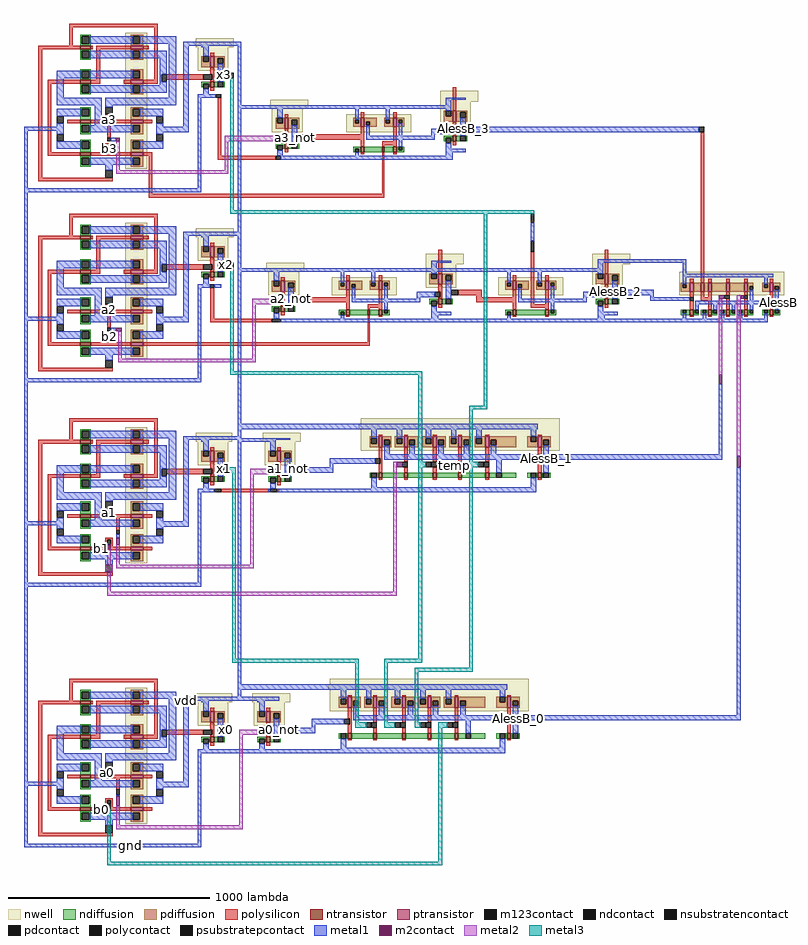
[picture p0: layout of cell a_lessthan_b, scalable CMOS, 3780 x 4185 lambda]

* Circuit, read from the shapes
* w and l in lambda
.subckt a_lessthan_b AlessB AlessB_0 AlessB_1 AlessB_2 AlessB_3 a0 a0_not a1 a1_not a2 a2_not a3 a3_not b0 b1 b2 b3 gnd temp vdd x0 x1 x2 x3
M1 gnd b0 n1 gnd nfet w=54 l=18
M2 gnd a0 n2 gnd nfet w=54 l=18
M3 n2 b0 n3 gnd nfet w=54 l=18
M4 a0 n1 n3 gnd nfet w=54 l=18
M5 gnd b1 n4 gnd nfet w=54 l=18
M6 gnd a1 n5 gnd nfet w=54 l=18
M7 n5 b1 n6 gnd nfet w=54 l=18
M8 a1 n4 n6 gnd nfet w=54 l=18
M9 gnd b2 n7 gnd nfet w=54 l=18
M10 gnd a2 n8 gnd nfet w=54 l=18
M11 n8 b2 n9 gnd nfet w=54 l=18
M12 a2 n7 n9 gnd nfet w=54 l=18
M13 gnd b3 n10 gnd nfet w=54 l=18
M14 gnd a3 n11 gnd nfet w=54 l=18
M15 n11 b3 n12 gnd nfet w=54 l=18
M16 a3 n10 n12 gnd nfet w=54 l=18
M17 x0 n3 gnd gnd nfet w=27 l=18
M18 x1 n6 gnd gnd nfet w=27 l=18
M19 x2 n9 gnd gnd nfet w=27 l=18
M20 x3 n12 gnd gnd nfet w=27 l=18
M21 a0_not a0 gnd gnd nfet w=27 l=18
M22 a1_not a1 gnd gnd nfet w=27 l=18
M23 a2_not a2 gnd gnd nfet w=27 l=18
M24 a3_not a3 gnd gnd nfet w=27 l=18
M25 n13 a2_not gnd gnd nfet w=27 l=18
M26 n14 a0_not gnd gnd nfet w=27 l=18
M27 n15 a3_not gnd gnd nfet w=27 l=18
M28 n16 b2 n13 gnd nfet w=27 l=9
M29 n17 x1 n14 gnd nfet w=27 l=18
M30 n18 a1_not gnd gnd nfet w=27 l=18
M31 n19 b2 n16 gnd nfet w=27 l=18
M32 n20 b3 n15 gnd nfet w=27 l=9
M33 n21 b3 n20 gnd nfet w=27 l=18
M34 n22 x2 n17 gnd nfet w=27 l=18
M35 n23 b1 n18 gnd nfet w=27 l=18
M36 n24 x3 n22 gnd nfet w=27 l=18
M37 n25 x2 n23 gnd nfet w=27 l=18
M38 n26 n19 gnd gnd nfet w=27 l=18
M39 AlessB_3 n21 gnd gnd nfet w=27 l=18
M40 n27 b0 n24 gnd nfet w=27 l=18
M41 n28 temp n25 gnd nfet w=27 l=18
M42 n29 x3 n28 gnd nfet w=27 l=18
M43 AlessB_0 n27 gnd gnd nfet w=27 l=18
M44 n30 n26 gnd gnd nfet w=27 l=18
M45 AlessB_1 n29 gnd gnd nfet w=27 l=18
M46 n31 x3 n30 gnd nfet w=27 l=18
M47 AlessB_2 n31 gnd gnd nfet w=27 l=18
M48 n32 AlessB_2 gnd gnd nfet w=27 l=18
M49 n32 AlessB_3 gnd gnd nfet w=27 l=18
M50 n32 AlessB_1 gnd gnd nfet w=27 l=18
M51 n32 AlessB_0 gnd gnd nfet w=27 l=18
M52 AlessB n32 gnd gnd nfet w=27 l=18
M53 vdd b0 n1 n33 pfet w=63 l=18
M54 vdd a0 n2 n33 pfet w=63 l=18
M55 n2 n1 n3 n33 pfet w=63 l=18
M56 a0 b0 n3 n33 pfet w=63 l=18
M57 vdd b1 n4 n34 pfet w=63 l=18
M58 vdd a1 n5 n34 pfet w=63 l=18
M59 n5 n4 n6 n34 pfet w=63 l=18
M60 a1 b1 n6 n34 pfet w=63 l=18
M61 vdd b2 n7 n35 pfet w=63 l=18
M62 vdd a2 n8 n35 pfet w=63 l=18
M63 n8 n7 n9 n35 pfet w=63 l=18
M64 a2 b2 n9 n35 pfet w=63 l=18
M65 vdd b3 n10 n36 pfet w=63 l=18
M66 vdd a3 n11 n36 pfet w=63 l=18
M67 n11 n10 n12 n36 pfet w=63 l=18
M68 a3 b3 n12 n36 pfet w=63 l=18
M69 x0 n3 vdd n37 pfet w=54 l=18
M70 x1 n6 vdd n38 pfet w=54 l=18
M71 x2 n9 vdd n39 pfet w=54 l=18
M72 x3 n12 vdd n40 pfet w=54 l=18
M73 a0_not a0 vdd n41 pfet w=54 l=18
M74 a1_not a1 vdd n42 pfet w=54 l=18
M75 a2_not a2 vdd n43 pfet w=54 l=18
M76 a3_not a3 vdd n44 pfet w=54 l=18
M77 n19 a2_not vdd n45 pfet w=45 l=18
M78 n27 a0_not vdd n46 pfet w=54 l=18
M79 n21 a3_not vdd n47 pfet w=45 l=18
M80 n27 x1 vdd n46 pfet w=54 l=18
M81 n29 a1_not vdd n48 pfet w=54 l=18
M82 n19 b2 vdd n45 pfet w=45 l=18
M83 n21 b3 vdd n47 pfet w=45 l=18
M84 n27 x2 vdd n46 pfet w=54 l=18
M85 n29 b1 vdd n48 pfet w=54 l=18
M86 n27 x3 vdd n46 pfet w=54 l=18
M87 n29 x2 vdd n48 pfet w=54 l=18
M88 n26 n19 vdd n49 pfet w=54 l=18
M89 AlessB_3 n21 vdd n50 pfet w=54 l=18
M90 n27 b0 vdd n46 pfet w=54 l=18
M91 n29 temp vdd n48 pfet w=54 l=18
M92 n29 x3 vdd n48 pfet w=54 l=18
M93 AlessB_0 n27 vdd n46 pfet w=54 l=18
M94 n31 n26 vdd n51 pfet w=45 l=18
M95 AlessB_1 n29 vdd n48 pfet w=54 l=18
M96 n31 x3 vdd n51 pfet w=45 l=18
M97 AlessB_2 n31 vdd n52 pfet w=54 l=18
M98 n53 AlessB_2 vdd n52 pfet w=45 l=18
M99 n54 AlessB_3 n53 n52 pfet w=45 l=18
M100 n55 AlessB_3 n54 n52 pfet w=45 l=18
M101 n56 AlessB_1 n55 n52 pfet w=45 l=18
M102 n32 AlessB_0 n56 n52 pfet w=45 l=18
M103 AlessB n32 vdd n52 pfet w=45 l=18
.ends

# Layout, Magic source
magic
tech scmos
magscale 9 1
<< nwell >>
rect -523 300 -511 375
rect -484 367 -463 372
rect -483 355 -466 367
rect -483 354 -476 355
rect -474 354 -466 355
rect -443 333 -422 338
rect -349 337 -328 343
rect -442 321 -425 333
rect -442 320 -435 321
rect -433 320 -425 321
rect -401 320 -365 330
rect -349 325 -332 337
rect -349 324 -342 325
rect -340 324 -332 325
rect -523 195 -511 270
rect -484 262 -463 267
rect -483 250 -466 262
rect -483 249 -476 250
rect -474 249 -466 250
rect -445 245 -424 248
rect -446 243 -424 245
rect -357 247 -336 253
rect -265 250 -244 253
rect -265 248 -213 250
rect -265 247 -244 248
rect -444 231 -427 243
rect -444 230 -437 231
rect -435 230 -427 231
rect -409 230 -373 240
rect -357 235 -340 247
rect -357 234 -350 235
rect -348 234 -340 235
rect -317 230 -281 240
rect -265 235 -248 247
rect -215 243 -213 248
rect -265 234 -258 235
rect -256 234 -248 235
rect -217 230 -159 243
rect -183 228 -179 230
rect -393 159 -283 162
rect -523 82 -511 157
rect -394 156 -283 159
rect -484 149 -464 154
rect -447 149 -426 154
rect -483 137 -466 149
rect -483 136 -476 137
rect -474 136 -466 137
rect -446 137 -429 149
rect -393 144 -283 156
rect -446 136 -439 137
rect -437 136 -429 137
rect -410 15 -300 18
rect -523 -62 -511 13
rect -411 12 -300 15
rect -484 5 -464 10
rect -453 5 -432 10
rect -483 -7 -466 5
rect -483 -8 -476 -7
rect -474 -8 -466 -7
rect -452 -7 -435 5
rect -410 0 -300 12
rect -452 -8 -445 -7
rect -443 -8 -435 -7
<< ntransistor >>
rect -548 366 -542 368
rect -548 347 -542 349
rect -476 345 -474 348
rect -548 325 -542 327
rect -548 307 -542 309
rect -435 311 -433 314
rect -342 315 -340 318
rect -393 309 -391 312
rect -381 309 -380 312
rect -375 309 -373 312
rect -548 261 -542 263
rect -548 242 -542 244
rect -476 240 -474 243
rect -548 220 -542 222
rect -437 221 -435 224
rect -350 225 -348 228
rect -258 225 -256 228
rect -401 219 -399 222
rect -389 219 -388 222
rect -383 219 -381 222
rect -309 219 -307 222
rect -291 219 -289 222
rect -211 219 -209 222
rect -201 219 -199 222
rect -191 219 -189 222
rect -181 219 -179 222
rect -167 219 -165 222
rect -548 202 -542 204
rect -548 148 -542 150
rect -548 129 -542 131
rect -476 127 -474 130
rect -439 127 -437 130
rect -383 129 -381 132
rect -369 129 -367 132
rect -353 129 -351 132
rect -339 129 -337 132
rect -324 129 -322 132
rect -295 129 -293 132
rect -548 107 -542 109
rect -548 89 -542 91
rect -548 4 -542 6
rect -548 -15 -542 -13
rect -476 -17 -474 -14
rect -445 -17 -443 -14
rect -400 -15 -398 -12
rect -386 -15 -384 -12
rect -370 -15 -368 -12
rect -356 -15 -354 -12
rect -341 -15 -339 -12
rect -312 -15 -310 -12
rect -548 -37 -542 -35
rect -548 -55 -542 -53
<< ptransistor >>
rect -520 366 -513 368
rect -476 356 -474 362
rect -520 347 -513 349
rect -520 325 -513 327
rect -520 307 -513 309
rect -435 322 -433 328
rect -393 323 -391 328
rect -375 323 -373 328
rect -342 326 -340 332
rect -520 261 -513 263
rect -476 251 -474 257
rect -520 242 -513 244
rect -520 220 -513 222
rect -437 232 -435 238
rect -401 233 -399 238
rect -383 233 -381 238
rect -350 236 -348 242
rect -309 233 -307 238
rect -291 233 -289 238
rect -258 236 -256 242
rect -211 232 -209 237
rect -205 232 -203 237
rect -201 232 -199 237
rect -191 232 -189 237
rect -181 232 -179 237
rect -167 232 -165 237
rect -520 202 -513 204
rect -520 148 -513 150
rect -383 146 -381 152
rect -369 146 -367 152
rect -353 146 -351 152
rect -339 146 -337 152
rect -324 146 -322 152
rect -295 146 -293 152
rect -476 138 -474 144
rect -439 138 -437 144
rect -520 129 -513 131
rect -520 107 -513 109
rect -520 89 -513 91
rect -520 4 -513 6
rect -400 2 -398 8
rect -386 2 -384 8
rect -370 2 -368 8
rect -356 2 -354 8
rect -341 2 -339 8
rect -312 2 -310 8
rect -476 -6 -474 0
rect -445 -6 -443 0
rect -520 -15 -513 -13
rect -520 -37 -513 -35
rect -520 -55 -513 -53
<< ndiffusion >>
rect -548 373 -542 374
rect -548 369 -547 373
rect -543 369 -542 373
rect -548 368 -542 369
rect -548 365 -542 366
rect -548 361 -547 365
rect -543 361 -542 365
rect -548 360 -542 361
rect -548 354 -542 355
rect -548 350 -547 354
rect -543 350 -542 354
rect -548 349 -542 350
rect -481 347 -476 348
rect -548 346 -542 347
rect -548 342 -547 346
rect -543 342 -542 346
rect -548 341 -542 342
rect -481 345 -480 347
rect -477 345 -476 347
rect -474 345 -472 348
rect -469 345 -468 348
rect -548 333 -542 334
rect -548 329 -547 333
rect -543 329 -542 333
rect -548 327 -542 329
rect -548 324 -542 325
rect -548 320 -547 324
rect -543 320 -542 324
rect -548 319 -542 320
rect -548 315 -542 316
rect -548 311 -547 315
rect -543 311 -542 315
rect -548 309 -542 311
rect -548 306 -542 307
rect -548 302 -547 306
rect -543 302 -542 306
rect -548 301 -542 302
rect -440 313 -435 314
rect -440 311 -439 313
rect -436 311 -435 313
rect -433 311 -431 314
rect -428 311 -427 314
rect -347 317 -342 318
rect -347 315 -346 317
rect -343 315 -342 317
rect -340 315 -338 318
rect -335 315 -334 318
rect -397 311 -393 312
rect -397 309 -396 311
rect -394 309 -393 311
rect -391 309 -381 312
rect -380 309 -375 312
rect -373 310 -372 312
rect -370 310 -369 312
rect -373 309 -369 310
rect -548 268 -542 269
rect -548 264 -547 268
rect -543 264 -542 268
rect -548 263 -542 264
rect -548 260 -542 261
rect -548 256 -547 260
rect -543 256 -542 260
rect -548 255 -542 256
rect -548 249 -542 250
rect -548 245 -547 249
rect -543 245 -542 249
rect -548 244 -542 245
rect -481 242 -476 243
rect -548 241 -542 242
rect -548 237 -547 241
rect -543 237 -542 241
rect -548 236 -542 237
rect -481 240 -480 242
rect -477 240 -476 242
rect -474 240 -472 243
rect -469 240 -468 243
rect -548 228 -542 229
rect -548 224 -547 228
rect -543 224 -542 228
rect -548 222 -542 224
rect -548 219 -542 220
rect -548 215 -547 219
rect -543 215 -542 219
rect -548 214 -542 215
rect -442 223 -437 224
rect -442 221 -441 223
rect -438 221 -437 223
rect -435 221 -433 224
rect -430 221 -429 224
rect -355 227 -350 228
rect -355 225 -354 227
rect -351 225 -350 227
rect -348 225 -346 228
rect -343 225 -342 228
rect -263 227 -258 228
rect -263 225 -262 227
rect -259 225 -258 227
rect -256 225 -254 228
rect -251 225 -250 228
rect -405 221 -401 222
rect -405 219 -404 221
rect -402 219 -401 221
rect -399 219 -389 222
rect -388 219 -383 222
rect -381 220 -380 222
rect -378 220 -377 222
rect -381 219 -377 220
rect -313 221 -309 222
rect -313 219 -312 221
rect -310 219 -309 221
rect -307 219 -291 222
rect -289 220 -288 222
rect -286 220 -285 222
rect -289 219 -285 220
rect -216 220 -215 222
rect -213 220 -211 222
rect -216 219 -211 220
rect -209 220 -208 222
rect -209 219 -206 220
rect -205 220 -204 222
rect -202 220 -201 222
rect -205 219 -201 220
rect -199 220 -198 222
rect -199 219 -196 220
rect -195 220 -194 222
rect -192 220 -191 222
rect -195 219 -191 220
rect -189 220 -188 222
rect -189 219 -186 220
rect -185 220 -184 222
rect -182 220 -181 222
rect -185 219 -181 220
rect -179 220 -178 222
rect -179 219 -176 220
rect -171 220 -170 222
rect -168 220 -167 222
rect -171 219 -167 220
rect -165 220 -164 222
rect -162 220 -161 222
rect -165 219 -161 220
rect -548 210 -542 211
rect -548 206 -547 210
rect -543 206 -542 210
rect -548 204 -542 206
rect -548 201 -542 202
rect -548 197 -547 201
rect -543 197 -542 201
rect -548 196 -542 197
rect -548 155 -542 156
rect -548 151 -547 155
rect -543 151 -542 155
rect -548 150 -542 151
rect -548 147 -542 148
rect -548 143 -547 147
rect -543 143 -542 147
rect -548 142 -542 143
rect -548 136 -542 137
rect -548 132 -547 136
rect -543 132 -542 136
rect -548 131 -542 132
rect -481 129 -476 130
rect -548 128 -542 129
rect -548 124 -547 128
rect -543 124 -542 128
rect -548 123 -542 124
rect -481 127 -480 129
rect -477 127 -476 129
rect -474 127 -472 130
rect -469 127 -468 130
rect -444 129 -439 130
rect -444 127 -443 129
rect -440 127 -439 129
rect -437 127 -435 130
rect -432 127 -431 130
rect -388 129 -387 132
rect -384 129 -383 132
rect -381 129 -369 132
rect -367 129 -353 132
rect -351 129 -339 132
rect -337 129 -324 132
rect -322 129 -318 132
rect -315 129 -307 132
rect -301 129 -299 132
rect -296 129 -295 132
rect -293 129 -292 132
rect -289 129 -288 132
rect -548 115 -542 116
rect -548 111 -547 115
rect -543 111 -542 115
rect -548 109 -542 111
rect -548 106 -542 107
rect -548 102 -547 106
rect -543 102 -542 106
rect -548 101 -542 102
rect -548 97 -542 98
rect -548 93 -547 97
rect -543 93 -542 97
rect -548 91 -542 93
rect -548 88 -542 89
rect -548 84 -547 88
rect -543 84 -542 88
rect -548 83 -542 84
rect -548 11 -542 12
rect -548 7 -547 11
rect -543 7 -542 11
rect -548 6 -542 7
rect -548 3 -542 4
rect -548 -1 -547 3
rect -543 -1 -542 3
rect -548 -2 -542 -1
rect -548 -8 -542 -7
rect -548 -12 -547 -8
rect -543 -12 -542 -8
rect -548 -13 -542 -12
rect -481 -15 -476 -14
rect -548 -16 -542 -15
rect -548 -20 -547 -16
rect -543 -20 -542 -16
rect -548 -21 -542 -20
rect -481 -17 -480 -15
rect -477 -17 -476 -15
rect -474 -17 -472 -14
rect -469 -17 -468 -14
rect -450 -15 -445 -14
rect -450 -17 -449 -15
rect -446 -17 -445 -15
rect -443 -17 -441 -14
rect -438 -17 -437 -14
rect -405 -15 -404 -12
rect -401 -15 -400 -12
rect -398 -15 -386 -12
rect -384 -15 -370 -12
rect -368 -15 -356 -12
rect -354 -15 -341 -12
rect -339 -15 -335 -12
rect -332 -15 -324 -12
rect -318 -15 -316 -12
rect -313 -15 -312 -12
rect -310 -15 -309 -12
rect -306 -15 -305 -12
rect -548 -29 -542 -28
rect -548 -33 -547 -29
rect -543 -33 -542 -29
rect -548 -35 -542 -33
rect -548 -38 -542 -37
rect -548 -42 -547 -38
rect -543 -42 -542 -38
rect -548 -43 -542 -42
rect -548 -47 -542 -46
rect -548 -51 -547 -47
rect -543 -51 -542 -47
rect -548 -53 -542 -51
rect -548 -56 -542 -55
rect -548 -60 -547 -56
rect -543 -60 -542 -56
rect -548 -61 -542 -60
<< pdiffusion >>
rect -520 373 -513 374
rect -520 369 -519 373
rect -515 369 -513 373
rect -520 368 -513 369
rect -520 365 -513 366
rect -520 361 -519 365
rect -515 361 -513 365
rect -520 360 -513 361
rect -520 354 -513 355
rect -520 350 -519 354
rect -515 350 -513 354
rect -520 349 -513 350
rect -481 359 -480 362
rect -477 359 -476 362
rect -481 356 -476 359
rect -474 361 -468 362
rect -474 358 -472 361
rect -469 358 -468 361
rect -474 356 -468 358
rect -520 346 -513 347
rect -520 342 -519 346
rect -515 342 -513 346
rect -520 341 -513 342
rect -520 333 -513 334
rect -520 329 -519 333
rect -515 329 -513 333
rect -520 327 -513 329
rect -520 324 -513 325
rect -520 320 -519 324
rect -515 320 -513 324
rect -520 319 -513 320
rect -520 315 -513 316
rect -520 311 -519 315
rect -515 311 -513 315
rect -520 309 -513 311
rect -520 306 -513 307
rect -520 302 -519 306
rect -515 302 -513 306
rect -520 301 -513 302
rect -347 329 -346 332
rect -343 329 -342 332
rect -440 325 -439 328
rect -436 325 -435 328
rect -440 322 -435 325
rect -433 327 -427 328
rect -433 324 -431 327
rect -428 324 -427 327
rect -433 322 -427 324
rect -397 327 -393 328
rect -397 325 -396 327
rect -394 325 -393 327
rect -397 323 -393 325
rect -391 326 -384 328
rect -391 324 -390 326
rect -388 324 -384 326
rect -391 323 -384 324
rect -380 327 -375 328
rect -380 325 -379 327
rect -377 325 -375 327
rect -380 323 -375 325
rect -373 327 -369 328
rect -373 325 -372 327
rect -370 325 -369 327
rect -347 326 -342 329
rect -340 331 -334 332
rect -340 328 -338 331
rect -335 328 -334 331
rect -340 326 -334 328
rect -373 323 -369 325
rect -520 268 -513 269
rect -520 264 -519 268
rect -515 264 -513 268
rect -520 263 -513 264
rect -520 260 -513 261
rect -520 256 -519 260
rect -515 256 -513 260
rect -520 255 -513 256
rect -520 249 -513 250
rect -520 245 -519 249
rect -515 245 -513 249
rect -520 244 -513 245
rect -481 254 -480 257
rect -477 254 -476 257
rect -481 251 -476 254
rect -474 256 -468 257
rect -474 253 -472 256
rect -469 253 -468 256
rect -474 251 -468 253
rect -520 241 -513 242
rect -520 237 -519 241
rect -515 237 -513 241
rect -355 239 -354 242
rect -351 239 -350 242
rect -520 236 -513 237
rect -520 228 -513 229
rect -520 224 -519 228
rect -515 224 -513 228
rect -520 222 -513 224
rect -520 219 -513 220
rect -520 215 -519 219
rect -515 215 -513 219
rect -442 235 -441 238
rect -438 235 -437 238
rect -442 232 -437 235
rect -435 237 -429 238
rect -435 234 -433 237
rect -430 234 -429 237
rect -435 232 -429 234
rect -405 237 -401 238
rect -405 235 -404 237
rect -402 235 -401 237
rect -405 233 -401 235
rect -399 236 -392 238
rect -399 234 -398 236
rect -396 234 -392 236
rect -399 233 -392 234
rect -388 237 -383 238
rect -388 235 -387 237
rect -385 235 -383 237
rect -388 233 -383 235
rect -381 237 -377 238
rect -381 235 -380 237
rect -378 235 -377 237
rect -355 236 -350 239
rect -348 241 -342 242
rect -348 238 -346 241
rect -343 238 -342 241
rect -348 236 -342 238
rect -313 237 -309 238
rect -381 233 -377 235
rect -313 235 -312 237
rect -310 235 -309 237
rect -313 233 -309 235
rect -307 236 -300 238
rect -307 234 -306 236
rect -304 234 -300 236
rect -307 233 -300 234
rect -263 239 -262 242
rect -259 239 -258 242
rect -296 237 -291 238
rect -296 235 -295 237
rect -293 235 -291 237
rect -296 233 -291 235
rect -289 237 -285 238
rect -289 235 -288 237
rect -286 235 -285 237
rect -263 236 -258 239
rect -256 241 -250 242
rect -256 238 -254 241
rect -251 238 -250 241
rect -256 236 -250 238
rect -216 236 -211 237
rect -289 233 -285 235
rect -216 234 -215 236
rect -213 234 -211 236
rect -216 232 -211 234
rect -209 232 -205 237
rect -203 232 -201 237
rect -199 232 -191 237
rect -189 232 -181 237
rect -179 235 -176 237
rect -179 233 -178 235
rect -179 232 -176 233
rect -171 236 -167 237
rect -171 234 -170 236
rect -168 234 -167 236
rect -171 232 -167 234
rect -165 235 -161 237
rect -165 233 -164 235
rect -162 233 -161 235
rect -165 232 -161 233
rect -520 214 -513 215
rect -520 210 -513 211
rect -520 206 -519 210
rect -515 206 -513 210
rect -520 204 -513 206
rect -520 201 -513 202
rect -520 197 -519 201
rect -515 197 -513 201
rect -520 196 -513 197
rect -520 155 -513 156
rect -520 151 -519 155
rect -515 151 -513 155
rect -520 150 -513 151
rect -520 147 -513 148
rect -520 143 -519 147
rect -515 143 -513 147
rect -520 142 -513 143
rect -520 136 -513 137
rect -520 132 -519 136
rect -515 132 -513 136
rect -520 131 -513 132
rect -388 151 -383 152
rect -388 148 -387 151
rect -384 148 -383 151
rect -388 146 -383 148
rect -381 150 -376 152
rect -381 147 -380 150
rect -377 147 -376 150
rect -381 146 -376 147
rect -374 151 -369 152
rect -374 148 -373 151
rect -370 148 -369 151
rect -374 146 -369 148
rect -367 150 -361 152
rect -367 147 -366 150
rect -363 147 -361 150
rect -367 146 -361 147
rect -359 151 -353 152
rect -359 148 -357 151
rect -354 148 -353 151
rect -359 146 -353 148
rect -351 150 -346 152
rect -351 147 -350 150
rect -347 147 -346 150
rect -351 146 -346 147
rect -344 151 -339 152
rect -344 148 -343 151
rect -340 148 -339 151
rect -344 146 -339 148
rect -337 150 -332 152
rect -337 147 -336 150
rect -333 147 -332 150
rect -337 146 -332 147
rect -330 151 -324 152
rect -330 148 -329 151
rect -326 148 -324 151
rect -330 146 -324 148
rect -322 150 -307 152
rect -322 147 -321 150
rect -318 147 -307 150
rect -322 146 -307 147
rect -301 149 -299 152
rect -296 149 -295 152
rect -301 146 -295 149
rect -293 150 -288 152
rect -293 147 -292 150
rect -289 147 -288 150
rect -293 146 -288 147
rect -481 141 -480 144
rect -477 141 -476 144
rect -481 138 -476 141
rect -474 143 -468 144
rect -474 140 -472 143
rect -469 140 -468 143
rect -474 138 -468 140
rect -444 141 -443 144
rect -440 141 -439 144
rect -444 138 -439 141
rect -437 143 -431 144
rect -437 140 -435 143
rect -432 140 -431 143
rect -437 138 -431 140
rect -520 128 -513 129
rect -520 124 -519 128
rect -515 124 -513 128
rect -520 123 -513 124
rect -520 115 -513 116
rect -520 111 -519 115
rect -515 111 -513 115
rect -520 109 -513 111
rect -520 106 -513 107
rect -520 102 -519 106
rect -515 102 -513 106
rect -520 101 -513 102
rect -520 97 -513 98
rect -520 93 -519 97
rect -515 93 -513 97
rect -520 91 -513 93
rect -520 88 -513 89
rect -520 84 -519 88
rect -515 84 -513 88
rect -520 83 -513 84
rect -520 11 -513 12
rect -520 7 -519 11
rect -515 7 -513 11
rect -520 6 -513 7
rect -520 3 -513 4
rect -520 -1 -519 3
rect -515 -1 -513 3
rect -520 -2 -513 -1
rect -520 -8 -513 -7
rect -520 -12 -519 -8
rect -515 -12 -513 -8
rect -520 -13 -513 -12
rect -405 7 -400 8
rect -405 4 -404 7
rect -401 4 -400 7
rect -405 2 -400 4
rect -398 6 -393 8
rect -398 3 -397 6
rect -394 3 -393 6
rect -398 2 -393 3
rect -391 7 -386 8
rect -391 4 -390 7
rect -387 4 -386 7
rect -391 2 -386 4
rect -384 6 -378 8
rect -384 3 -383 6
rect -380 3 -378 6
rect -384 2 -378 3
rect -376 7 -370 8
rect -376 4 -374 7
rect -371 4 -370 7
rect -376 2 -370 4
rect -368 6 -363 8
rect -368 3 -367 6
rect -364 3 -363 6
rect -368 2 -363 3
rect -361 7 -356 8
rect -361 4 -360 7
rect -357 4 -356 7
rect -361 2 -356 4
rect -354 6 -349 8
rect -354 3 -353 6
rect -350 3 -349 6
rect -354 2 -349 3
rect -347 7 -341 8
rect -347 4 -346 7
rect -343 4 -341 7
rect -347 2 -341 4
rect -339 6 -324 8
rect -339 3 -338 6
rect -335 3 -324 6
rect -339 2 -324 3
rect -318 5 -316 8
rect -313 5 -312 8
rect -318 2 -312 5
rect -310 6 -305 8
rect -310 3 -309 6
rect -306 3 -305 6
rect -310 2 -305 3
rect -481 -3 -480 0
rect -477 -3 -476 0
rect -481 -6 -476 -3
rect -474 -1 -468 0
rect -474 -4 -472 -1
rect -469 -4 -468 -1
rect -474 -6 -468 -4
rect -450 -3 -449 0
rect -446 -3 -445 0
rect -450 -6 -445 -3
rect -443 -1 -437 0
rect -443 -4 -441 -1
rect -438 -4 -437 -1
rect -443 -6 -437 -4
rect -520 -16 -513 -15
rect -520 -20 -519 -16
rect -515 -20 -513 -16
rect -520 -21 -513 -20
rect -520 -29 -513 -28
rect -520 -33 -519 -29
rect -515 -33 -513 -29
rect -520 -35 -513 -33
rect -520 -38 -513 -37
rect -520 -42 -519 -38
rect -515 -42 -513 -38
rect -520 -43 -513 -42
rect -520 -47 -513 -46
rect -520 -51 -519 -47
rect -515 -51 -513 -47
rect -520 -53 -513 -51
rect -520 -56 -513 -55
rect -520 -60 -519 -56
rect -515 -60 -513 -56
rect -520 -61 -513 -60
<< ndcontact >>
rect -547 369 -543 373
rect -547 361 -543 365
rect -547 350 -543 354
rect -547 342 -543 346
rect -480 344 -477 347
rect -472 345 -469 348
rect -547 329 -543 333
rect -547 320 -543 324
rect -547 311 -543 315
rect -547 302 -543 306
rect -439 310 -436 313
rect -431 311 -428 314
rect -346 314 -343 317
rect -338 315 -335 318
rect -396 309 -394 311
rect -372 310 -370 312
rect -547 264 -543 268
rect -547 256 -543 260
rect -547 245 -543 249
rect -547 237 -543 241
rect -480 239 -477 242
rect -472 240 -469 243
rect -547 224 -543 228
rect -547 215 -543 219
rect -441 220 -438 223
rect -433 221 -430 224
rect -354 224 -351 227
rect -346 225 -343 228
rect -262 224 -259 227
rect -254 225 -251 228
rect -404 219 -402 221
rect -380 220 -378 222
rect -312 219 -310 221
rect -288 220 -286 222
rect -215 220 -213 222
rect -208 220 -206 222
rect -204 220 -202 222
rect -198 220 -196 222
rect -194 220 -192 222
rect -188 220 -186 222
rect -184 220 -182 222
rect -178 220 -176 222
rect -170 220 -168 222
rect -164 220 -162 222
rect -547 206 -543 210
rect -547 197 -543 201
rect -547 151 -543 155
rect -547 143 -543 147
rect -547 132 -543 136
rect -547 124 -543 128
rect -480 126 -477 129
rect -472 127 -469 130
rect -443 126 -440 129
rect -435 127 -432 130
rect -387 129 -384 132
rect -318 129 -315 132
rect -299 129 -296 132
rect -292 129 -289 132
rect -547 111 -543 115
rect -547 102 -543 106
rect -547 93 -543 97
rect -547 84 -543 88
rect -547 7 -543 11
rect -547 -1 -543 3
rect -547 -12 -543 -8
rect -547 -20 -543 -16
rect -480 -18 -477 -15
rect -472 -17 -469 -14
rect -449 -18 -446 -15
rect -441 -17 -438 -14
rect -404 -15 -401 -12
rect -335 -15 -332 -12
rect -316 -15 -313 -12
rect -309 -15 -306 -12
rect -547 -33 -543 -29
rect -547 -42 -543 -38
rect -547 -51 -543 -47
rect -547 -60 -543 -56
<< pdcontact >>
rect -519 369 -515 373
rect -519 361 -515 365
rect -519 350 -515 354
rect -480 359 -477 362
rect -472 358 -469 361
rect -519 342 -515 346
rect -519 329 -515 333
rect -519 320 -515 324
rect -519 311 -515 315
rect -519 302 -515 306
rect -346 329 -343 332
rect -439 325 -436 328
rect -431 324 -428 327
rect -396 325 -394 327
rect -390 324 -388 326
rect -379 325 -377 327
rect -372 325 -370 327
rect -338 328 -335 331
rect -519 264 -515 268
rect -519 256 -515 260
rect -519 245 -515 249
rect -480 254 -477 257
rect -472 253 -469 256
rect -519 237 -515 241
rect -354 239 -351 242
rect -519 224 -515 228
rect -519 215 -515 219
rect -441 235 -438 238
rect -433 234 -430 237
rect -404 235 -402 237
rect -398 234 -396 236
rect -387 235 -385 237
rect -380 235 -378 237
rect -346 238 -343 241
rect -312 235 -310 237
rect -306 234 -304 236
rect -262 239 -259 242
rect -295 235 -293 237
rect -288 235 -286 237
rect -254 238 -251 241
rect -215 234 -213 236
rect -178 233 -176 235
rect -170 234 -168 236
rect -164 233 -162 235
rect -519 206 -515 210
rect -519 197 -515 201
rect -519 151 -515 155
rect -519 143 -515 147
rect -519 132 -515 136
rect -387 148 -384 151
rect -380 147 -377 150
rect -373 148 -370 151
rect -366 147 -363 150
rect -357 148 -354 151
rect -350 147 -347 150
rect -343 148 -340 151
rect -336 147 -333 150
rect -329 148 -326 151
rect -321 147 -318 150
rect -299 149 -296 152
rect -292 147 -289 150
rect -480 141 -477 144
rect -472 140 -469 143
rect -443 141 -440 144
rect -435 140 -432 143
rect -519 124 -515 128
rect -519 111 -515 115
rect -519 102 -515 106
rect -519 93 -515 97
rect -519 84 -515 88
rect -519 7 -515 11
rect -519 -1 -515 3
rect -519 -12 -515 -8
rect -404 4 -401 7
rect -397 3 -394 6
rect -390 4 -387 7
rect -383 3 -380 6
rect -374 4 -371 7
rect -367 3 -364 6
rect -360 4 -357 7
rect -353 3 -350 6
rect -346 4 -343 7
rect -338 3 -335 6
rect -316 5 -313 8
rect -309 3 -306 6
rect -480 -3 -477 0
rect -472 -4 -469 -1
rect -449 -3 -446 0
rect -441 -4 -438 -1
rect -519 -20 -515 -16
rect -519 -33 -515 -29
rect -519 -42 -515 -38
rect -519 -51 -515 -47
rect -519 -60 -515 -56
<< psubstratepcontact >>
rect -561 325 -557 329
rect -561 315 -557 319
rect -561 220 -557 224
rect -561 210 -557 214
rect -561 107 -557 111
rect -561 97 -557 101
rect -561 -37 -557 -33
rect -561 -47 -557 -43
<< nsubstratencontact >>
rect -506 325 -502 329
rect -506 315 -502 319
rect -506 220 -502 224
rect -506 210 -502 214
rect -506 107 -502 111
rect -506 97 -502 101
rect -506 -37 -502 -33
rect -506 -47 -502 -43
<< polysilicon >>
rect -554 378 -505 380
rect -554 368 -552 378
rect -571 366 -548 368
rect -542 366 -541 368
rect -539 366 -520 368
rect -513 366 -510 368
rect -571 295 -569 366
rect -539 349 -537 366
rect -507 349 -505 378
rect -476 362 -474 364
rect -476 352 -474 356
rect -566 347 -548 349
rect -542 347 -537 349
rect -524 347 -520 349
rect -513 347 -505 349
rect -500 349 -480 352
rect -475 349 -474 352
rect -476 348 -474 349
rect -566 309 -564 347
rect -476 343 -474 345
rect -534 327 -530 330
rect -555 325 -548 327
rect -542 325 -520 327
rect -513 325 -508 327
rect -533 317 -531 325
rect -534 309 -530 314
rect -566 307 -548 309
rect -542 307 -520 309
rect -513 307 -508 309
rect -571 293 -530 295
rect -510 286 -508 307
rect -472 307 -470 339
rect -342 332 -340 345
rect -435 328 -433 330
rect -393 328 -391 331
rect -375 328 -373 331
rect -435 318 -433 322
rect -393 319 -391 323
rect -434 315 -433 318
rect -425 316 -391 319
rect -435 314 -433 315
rect -393 312 -391 316
rect -375 315 -373 323
rect -342 322 -340 326
rect -341 319 -340 322
rect -342 318 -340 319
rect -381 313 -373 315
rect -342 313 -340 315
rect -381 312 -380 313
rect -375 312 -373 313
rect -435 309 -433 311
rect -393 308 -391 309
rect -472 305 -440 307
rect -381 286 -380 309
rect -375 308 -373 309
rect -510 284 -380 286
rect -554 273 -505 275
rect -554 263 -552 273
rect -571 261 -548 263
rect -542 261 -541 263
rect -539 261 -520 263
rect -513 261 -510 263
rect -571 190 -569 261
rect -539 244 -537 261
rect -507 244 -505 273
rect -476 257 -474 259
rect -476 247 -474 251
rect -566 242 -548 244
rect -542 242 -537 244
rect -524 242 -520 244
rect -513 242 -505 244
rect -500 244 -480 247
rect -475 244 -474 247
rect -476 243 -474 244
rect -566 204 -564 242
rect -350 242 -348 255
rect -476 238 -474 240
rect -437 238 -435 240
rect -401 238 -399 241
rect -383 238 -381 241
rect -534 222 -530 225
rect -555 220 -548 222
rect -542 220 -520 222
rect -513 220 -508 222
rect -533 212 -531 220
rect -476 217 -474 234
rect -309 238 -307 241
rect -437 228 -435 232
rect -401 229 -399 233
rect -436 225 -435 228
rect -425 226 -399 229
rect -437 224 -435 225
rect -401 222 -399 226
rect -383 225 -381 233
rect -350 232 -348 236
rect -349 229 -348 232
rect -339 230 -326 233
rect -350 228 -348 229
rect -329 229 -326 230
rect -309 229 -307 233
rect -389 223 -381 225
rect -329 226 -307 229
rect -350 223 -348 225
rect -389 222 -388 223
rect -383 222 -381 223
rect -309 222 -307 226
rect -299 225 -297 254
rect -258 242 -256 255
rect -291 238 -289 241
rect -211 237 -209 239
rect -205 237 -203 320
rect -201 237 -199 239
rect -191 237 -189 239
rect -181 237 -179 239
rect -167 237 -165 239
rect -291 225 -289 233
rect -258 232 -256 236
rect -257 229 -256 232
rect -258 228 -256 229
rect -211 229 -209 232
rect -299 223 -289 225
rect -205 229 -203 232
rect -201 229 -199 232
rect -191 230 -189 232
rect -205 227 -199 229
rect -258 223 -256 225
rect -291 222 -289 223
rect -211 222 -209 227
rect -201 222 -199 227
rect -191 222 -189 228
rect -181 230 -179 232
rect -181 222 -179 228
rect -167 227 -165 232
rect -166 225 -165 227
rect -167 222 -165 225
rect -437 219 -435 221
rect -401 218 -399 219
rect -476 215 -442 217
rect -534 204 -530 209
rect -389 204 -388 219
rect -383 218 -381 219
rect -309 218 -307 219
rect -291 218 -289 219
rect -211 218 -209 219
rect -201 218 -199 219
rect -191 218 -189 219
rect -181 218 -179 219
rect -167 218 -165 219
rect -566 202 -548 204
rect -542 202 -520 204
rect -513 202 -388 204
rect -571 188 -530 190
rect -554 160 -505 162
rect -554 150 -552 160
rect -571 148 -548 150
rect -542 148 -541 150
rect -539 148 -520 150
rect -513 148 -510 150
rect -571 77 -569 148
rect -539 131 -537 148
rect -507 131 -505 160
rect -383 152 -381 153
rect -369 152 -367 153
rect -353 152 -351 153
rect -339 152 -337 153
rect -324 152 -322 153
rect -295 152 -293 153
rect -476 144 -474 146
rect -439 144 -437 146
rect -383 140 -381 146
rect -476 134 -474 138
rect -439 134 -437 138
rect -382 137 -381 140
rect -369 138 -367 146
rect -353 138 -351 146
rect -339 138 -337 146
rect -324 138 -322 146
rect -295 142 -293 146
rect -566 129 -548 131
rect -542 129 -537 131
rect -524 129 -520 131
rect -513 129 -505 131
rect -500 131 -480 134
rect -475 131 -474 134
rect -438 131 -437 134
rect -383 132 -381 137
rect -369 132 -367 135
rect -353 132 -351 135
rect -339 132 -337 135
rect -324 132 -322 135
rect -295 132 -293 139
rect -476 130 -474 131
rect -439 130 -437 131
rect -566 91 -564 129
rect -476 125 -474 127
rect -383 128 -381 129
rect -369 128 -367 129
rect -353 128 -351 129
rect -339 128 -337 129
rect -324 128 -322 129
rect -295 128 -293 129
rect -439 125 -437 127
rect -470 121 -443 123
rect -439 121 -438 123
rect -534 109 -530 112
rect -555 107 -548 109
rect -542 107 -520 109
rect -513 107 -508 109
rect -528 100 -526 107
rect -534 95 -530 96
rect -534 92 -533 95
rect -531 92 -530 95
rect -534 91 -530 92
rect -566 89 -548 91
rect -542 89 -520 91
rect -513 89 -508 91
rect -571 75 -530 77
rect -554 16 -505 18
rect -554 6 -552 16
rect -571 4 -548 6
rect -542 4 -541 6
rect -539 4 -520 6
rect -513 4 -510 6
rect -571 -67 -569 4
rect -539 -13 -537 4
rect -507 -13 -505 16
rect -400 8 -398 9
rect -386 8 -384 9
rect -370 8 -368 9
rect -356 8 -354 9
rect -341 8 -339 9
rect -312 8 -310 9
rect -476 0 -474 2
rect -445 0 -443 2
rect -400 -4 -398 2
rect -476 -10 -474 -6
rect -445 -10 -443 -6
rect -399 -7 -398 -4
rect -386 -6 -384 2
rect -370 -6 -368 2
rect -356 -6 -354 2
rect -341 -6 -339 2
rect -312 -2 -310 2
rect -566 -15 -548 -13
rect -542 -15 -537 -13
rect -524 -15 -520 -13
rect -513 -15 -505 -13
rect -500 -13 -480 -10
rect -475 -13 -474 -10
rect -444 -13 -443 -10
rect -400 -12 -398 -7
rect -386 -12 -384 -9
rect -370 -12 -368 -9
rect -356 -12 -354 -9
rect -341 -12 -339 -9
rect -312 -12 -310 -5
rect -476 -14 -474 -13
rect -445 -14 -443 -13
rect -566 -53 -564 -15
rect -476 -19 -474 -17
rect -400 -16 -398 -15
rect -386 -16 -384 -15
rect -370 -16 -368 -15
rect -356 -16 -354 -15
rect -341 -16 -339 -15
rect -312 -16 -310 -15
rect -445 -19 -443 -17
rect -534 -35 -530 -32
rect -555 -37 -548 -35
rect -542 -37 -520 -35
rect -513 -37 -508 -35
rect -528 -43 -526 -37
rect -534 -49 -530 -48
rect -534 -51 -533 -49
rect -531 -51 -530 -49
rect -534 -53 -530 -51
rect -566 -55 -548 -53
rect -542 -55 -520 -53
rect -513 -55 -508 -53
rect -571 -69 -530 -67
<< polycontact >>
rect -503 348 -500 352
rect -480 349 -475 352
rect -473 339 -470 341
rect -534 330 -530 334
rect -533 315 -531 317
rect -534 295 -530 299
rect -437 315 -434 318
rect -428 316 -425 319
rect -344 319 -341 322
rect -206 320 -203 323
rect -440 305 -437 307
rect -503 243 -500 247
rect -480 244 -475 247
rect -299 254 -297 260
rect -476 234 -474 236
rect -534 225 -530 229
rect -439 225 -436 228
rect -430 226 -425 229
rect -352 229 -349 232
rect -343 230 -339 233
rect -260 229 -257 232
rect -211 227 -209 229
rect -192 228 -189 230
rect -181 228 -179 230
rect -167 225 -166 227
rect -442 215 -437 217
rect -533 210 -531 212
rect -534 190 -530 194
rect -385 137 -382 140
rect -296 139 -293 142
rect -503 130 -500 134
rect -480 131 -475 134
rect -441 131 -438 134
rect -370 135 -367 138
rect -354 135 -351 138
rect -340 135 -337 138
rect -325 135 -322 138
rect -474 121 -470 123
rect -443 121 -439 123
rect -534 112 -530 116
rect -528 98 -526 100
rect -533 92 -531 95
rect -534 77 -530 81
rect -402 -7 -399 -4
rect -313 -5 -310 -2
rect -503 -14 -500 -10
rect -480 -13 -475 -10
rect -447 -13 -444 -10
rect -387 -9 -384 -6
rect -371 -9 -368 -6
rect -357 -9 -354 -6
rect -342 -9 -339 -6
rect -534 -32 -530 -28
rect -528 -46 -526 -43
rect -533 -51 -531 -49
rect -534 -67 -530 -63
<< metal1 >>
rect -543 369 -519 373
rect -515 369 -495 373
rect -543 361 -519 365
rect -515 361 -500 365
rect -561 350 -547 354
rect -543 350 -519 354
rect -504 352 -500 361
rect -561 339 -557 350
rect -504 348 -503 352
rect -504 346 -500 348
rect -543 342 -519 346
rect -515 342 -500 346
rect -499 339 -495 369
rect -561 335 -536 339
rect -561 329 -547 333
rect -561 323 -557 325
rect -540 324 -536 335
rect -534 335 -495 339
rect -491 368 -459 370
rect -534 334 -530 335
rect -515 329 -502 333
rect -579 321 -557 323
rect -579 289 -577 321
rect -561 319 -557 321
rect -543 320 -519 324
rect -506 323 -502 325
rect -491 323 -488 368
rect -481 367 -477 368
rect -480 362 -477 367
rect -472 353 -469 358
rect -472 350 -465 353
rect -472 348 -469 350
rect -480 341 -477 344
rect -506 320 -488 323
rect -483 339 -473 341
rect -506 319 -502 320
rect -531 315 -528 317
rect -561 311 -547 315
rect -515 311 -502 315
rect -543 302 -519 306
rect -534 299 -530 302
rect -483 289 -481 339
rect -579 287 -481 289
rect -461 335 -459 368
rect -346 338 -335 339
rect -346 335 -343 338
rect -461 333 -343 335
rect -579 218 -577 287
rect -543 264 -519 268
rect -515 264 -495 268
rect -461 265 -459 333
rect -439 328 -436 333
rect -396 327 -394 333
rect -379 327 -377 333
rect -346 332 -343 333
rect -431 314 -428 324
rect -390 318 -388 324
rect -372 318 -370 325
rect -338 323 -335 328
rect -354 319 -344 322
rect -338 320 -206 323
rect -354 318 -352 319
rect -390 316 -352 318
rect -338 318 -335 320
rect -372 312 -370 316
rect -439 307 -436 310
rect -346 311 -343 314
rect -396 307 -394 309
rect -346 309 -335 311
rect -346 307 -342 309
rect -437 305 -342 307
rect -543 256 -519 260
rect -515 256 -500 260
rect -561 245 -547 249
rect -543 245 -519 249
rect -504 247 -500 256
rect -561 234 -557 245
rect -504 243 -503 247
rect -504 241 -500 243
rect -543 237 -519 241
rect -515 237 -500 241
rect -499 234 -495 264
rect -561 230 -536 234
rect -561 224 -547 228
rect -561 218 -557 220
rect -540 219 -536 230
rect -534 230 -495 234
rect -491 263 -459 265
rect -534 229 -530 230
rect -515 224 -502 228
rect -579 216 -557 218
rect -579 184 -577 216
rect -561 214 -557 216
rect -543 215 -519 219
rect -506 218 -502 220
rect -491 218 -488 263
rect -481 262 -477 263
rect -480 257 -477 262
rect -472 248 -469 253
rect -472 245 -466 248
rect -461 245 -459 263
rect -299 260 -297 270
rect -354 248 -343 249
rect -262 248 -213 250
rect -354 245 -351 248
rect -262 245 -259 248
rect -472 243 -469 245
rect -461 243 -259 245
rect -480 236 -477 239
rect -506 215 -488 218
rect -483 234 -476 236
rect -474 234 -470 236
rect -506 214 -502 215
rect -531 210 -528 212
rect -561 206 -547 210
rect -515 206 -502 210
rect -543 197 -519 201
rect -534 194 -530 197
rect -483 184 -481 234
rect -579 182 -481 184
rect -579 105 -577 182
rect -461 159 -459 243
rect -441 238 -438 243
rect -404 237 -402 243
rect -387 237 -385 243
rect -354 242 -351 243
rect -433 224 -430 234
rect -398 228 -396 234
rect -380 228 -378 235
rect -362 229 -352 232
rect -362 228 -360 229
rect -398 226 -360 228
rect -346 228 -343 238
rect -312 237 -310 243
rect -295 237 -293 243
rect -262 242 -259 243
rect -215 242 -213 248
rect -380 222 -378 226
rect -441 217 -438 220
rect -306 228 -304 234
rect -288 228 -286 235
rect -254 233 -251 238
rect -215 240 -165 242
rect -215 236 -213 240
rect -170 236 -168 240
rect -270 229 -260 232
rect -254 230 -231 233
rect -270 228 -268 229
rect -306 226 -268 228
rect -254 228 -251 230
rect -354 221 -351 224
rect -288 222 -286 226
rect -404 217 -402 219
rect -354 219 -343 221
rect -233 229 -231 230
rect -233 227 -211 229
rect -178 227 -176 233
rect -164 227 -162 233
rect -208 225 -167 227
rect -164 225 -159 227
rect -262 221 -259 224
rect -208 222 -206 225
rect -198 222 -196 225
rect -188 222 -186 225
rect -178 222 -176 225
rect -164 222 -162 225
rect -354 217 -350 219
rect -312 217 -310 219
rect -262 219 -251 221
rect -262 217 -258 219
rect -215 217 -213 220
rect -204 217 -202 220
rect -194 217 -192 220
rect -184 217 -182 220
rect -170 217 -168 220
rect -437 215 -168 217
rect -461 156 -295 159
rect -543 151 -519 155
rect -515 151 -495 155
rect -461 152 -459 156
rect -543 143 -519 147
rect -515 143 -500 147
rect -561 132 -547 136
rect -543 132 -519 136
rect -504 134 -500 143
rect -561 121 -557 132
rect -504 130 -503 134
rect -504 128 -500 130
rect -543 124 -519 128
rect -515 124 -500 128
rect -499 121 -495 151
rect -561 117 -536 121
rect -561 111 -547 115
rect -561 105 -557 107
rect -540 106 -536 117
rect -534 117 -495 121
rect -491 151 -459 152
rect -387 151 -384 156
rect -491 150 -432 151
rect -534 116 -530 117
rect -515 111 -502 115
rect -579 103 -557 105
rect -579 71 -577 103
rect -561 101 -557 103
rect -543 102 -519 106
rect -506 105 -502 107
rect -491 105 -488 150
rect -481 149 -477 150
rect -480 144 -477 149
rect -461 149 -440 150
rect -472 130 -469 140
rect -480 123 -477 126
rect -506 102 -488 105
rect -483 121 -474 123
rect -506 101 -502 102
rect -561 93 -547 97
rect -528 96 -526 98
rect -515 93 -502 97
rect -543 84 -519 88
rect -534 81 -530 84
rect -483 71 -481 121
rect -579 69 -481 71
rect -579 -39 -577 69
rect -461 15 -459 149
rect -443 144 -440 149
rect -373 151 -370 156
rect -357 151 -354 156
rect -380 142 -377 147
rect -343 151 -340 156
rect -366 142 -363 147
rect -329 151 -326 156
rect -350 142 -347 147
rect -299 152 -296 156
rect -336 142 -333 147
rect -321 142 -318 147
rect -292 142 -289 147
rect -195 142 -193 181
rect -435 135 -432 140
rect -410 137 -385 140
rect -380 139 -296 142
rect -292 139 -193 142
rect -410 135 -408 137
rect -343 135 -340 138
rect -435 132 -408 135
rect -318 132 -315 139
rect -292 132 -289 139
rect -435 130 -432 132
rect -443 123 -440 126
rect -387 124 -384 129
rect -299 124 -296 129
rect -387 123 -296 124
rect -444 121 -443 123
rect -439 121 -296 123
rect -461 12 -312 15
rect -543 7 -519 11
rect -515 7 -495 11
rect -461 8 -459 12
rect -543 -1 -519 3
rect -515 -1 -500 3
rect -561 -12 -547 -8
rect -543 -12 -519 -8
rect -504 -10 -500 -1
rect -561 -23 -557 -12
rect -504 -14 -503 -10
rect -504 -16 -500 -14
rect -543 -20 -519 -16
rect -515 -20 -500 -16
rect -499 -23 -495 7
rect -561 -27 -536 -23
rect -561 -33 -547 -29
rect -561 -39 -557 -37
rect -540 -38 -536 -27
rect -534 -27 -495 -23
rect -491 6 -438 8
rect -404 7 -401 12
rect -534 -28 -530 -27
rect -515 -33 -502 -29
rect -579 -41 -557 -39
rect -579 -73 -577 -41
rect -561 -43 -557 -41
rect -543 -42 -519 -38
rect -506 -39 -502 -37
rect -491 -39 -488 6
rect -481 5 -477 6
rect -450 5 -446 6
rect -480 0 -477 5
rect -449 0 -446 5
rect -390 7 -387 12
rect -374 7 -371 12
rect -472 -9 -469 -4
rect -397 -2 -394 3
rect -360 7 -357 12
rect -383 -2 -380 3
rect -346 7 -343 12
rect -367 -2 -364 3
rect -316 8 -313 12
rect -353 -2 -350 3
rect -338 -2 -335 3
rect -309 -2 -306 3
rect -185 -2 -183 135
rect -441 -9 -438 -4
rect -420 -7 -402 -4
rect -397 -5 -313 -2
rect -309 -5 -183 -2
rect -420 -9 -418 -7
rect -472 -12 -466 -9
rect -472 -14 -469 -12
rect -441 -12 -418 -9
rect -335 -12 -332 -5
rect -309 -12 -306 -5
rect -441 -14 -438 -12
rect -480 -21 -477 -18
rect -449 -21 -446 -18
rect -404 -20 -401 -15
rect -316 -20 -313 -15
rect -404 -21 -313 -20
rect -506 -42 -488 -39
rect -483 -23 -313 -21
rect -506 -43 -502 -42
rect -528 -47 -526 -46
rect -561 -51 -547 -47
rect -515 -51 -502 -47
rect -543 -60 -519 -56
rect -534 -63 -530 -60
rect -483 -73 -481 -23
rect -579 -75 -481 -73
<< m2contact >>
rect -528 315 -526 317
rect -440 315 -437 318
rect -528 210 -525 212
rect -441 225 -439 228
rect -195 228 -192 230
rect -183 228 -181 230
rect -195 181 -193 186
rect -528 92 -526 96
rect -533 90 -531 92
rect -373 135 -370 138
rect -443 131 -441 134
rect -185 135 -183 141
rect -450 -13 -447 -10
rect -528 -52 -526 -47
<< metal2 >>
rect -528 299 -526 315
rect -468 315 -440 318
rect -468 299 -466 315
rect -528 297 -466 299
rect -453 225 -441 228
rect -527 195 -525 210
rect -453 195 -451 225
rect -527 193 -451 195
rect -195 186 -193 228
rect -185 141 -183 230
rect -454 131 -443 134
rect -533 81 -531 90
rect -528 81 -526 92
rect -454 81 -452 131
rect -534 77 -530 81
rect -528 79 -452 81
rect -533 66 -531 77
rect -375 66 -373 138
rect -533 64 -373 66
rect -460 -13 -450 -10
rect -528 -63 -526 -52
rect -460 -63 -458 -13
rect -528 -65 -458 -63
<< m123contact >>
rect -465 350 -463 353
rect -299 270 -297 275
rect -466 245 -463 248
rect -469 132 -466 135
rect -357 135 -354 138
rect -328 135 -325 138
rect -390 -9 -387 -6
rect -374 -9 -371 -6
rect -360 -9 -357 -6
rect -345 -9 -342 -6
rect -533 -54 -531 -51
<< metal3 >>
rect -465 277 -463 350
rect -465 275 -297 277
rect -465 188 -463 245
rect -465 186 -359 188
rect -361 138 -359 186
rect -325 169 -323 275
rect -333 167 -323 169
rect -333 138 -331 167
rect -361 135 -357 138
rect -333 135 -328 138
rect -466 132 -462 135
rect -464 29 -462 132
rect -361 29 -359 135
rect -464 27 -394 29
rect -396 -6 -394 27
rect -380 27 -359 29
rect -380 -6 -378 27
rect -333 24 -331 135
rect -363 22 -331 24
rect -363 -6 -361 22
rect -396 -9 -390 -6
rect -380 -9 -374 -6
rect -363 -9 -360 -6
rect -350 -9 -345 -6
rect -533 -83 -531 -54
rect -350 -83 -348 -9
rect -533 -85 -348 -83
<< labels >>
rlabel metal1 -520 -74 -520 -74 1 gnd
rlabel metal1 -489 6 -489 6 1 vdd
rlabel metal1 -467 -10 -467 -10 1 x0
rlabel m123contact -468 134 -468 134 1 x1
rlabel metal1 -467 247 -467 247 1 x2
rlabel metal1 -468 352 -468 352 1 x3
rlabel metal1 -341 136 -341 136 1 temp
rlabel polysilicon -532 327 -532 327 1 a3
rlabel polysilicon -532 311 -532 311 1 b3
rlabel metal1 -429 317 -429 317 1 a3_not
rlabel metal1 -336 322 -336 322 1 AlessB_3
rlabel polysilicon -532 207 -532 207 1 b2
rlabel polysilicon -532 222 -532 222 1 a2
rlabel metal1 -431 228 -431 228 1 a2_not
rlabel metal1 -252 232 -252 232 1 AlessB_2
rlabel metal1 -162 226 -162 226 7 AlessB
rlabel polysilicon -532 110 -532 110 1 a1
rlabel polysilicon -536 90 -536 90 1 b1
rlabel metal1 -433 134 -433 134 1 a1_not
rlabel metal1 -290 140 -290 140 1 AlessB_1
rlabel polysilicon -533 -34 -533 -34 1 a0
rlabel polysilicon -536 -54 -536 -54 1 b0
rlabel metal1 -438 -10 -438 -10 1 a0_not
rlabel metal1 -306 -4 -306 -4 1 AlessB_0
<< end >>
